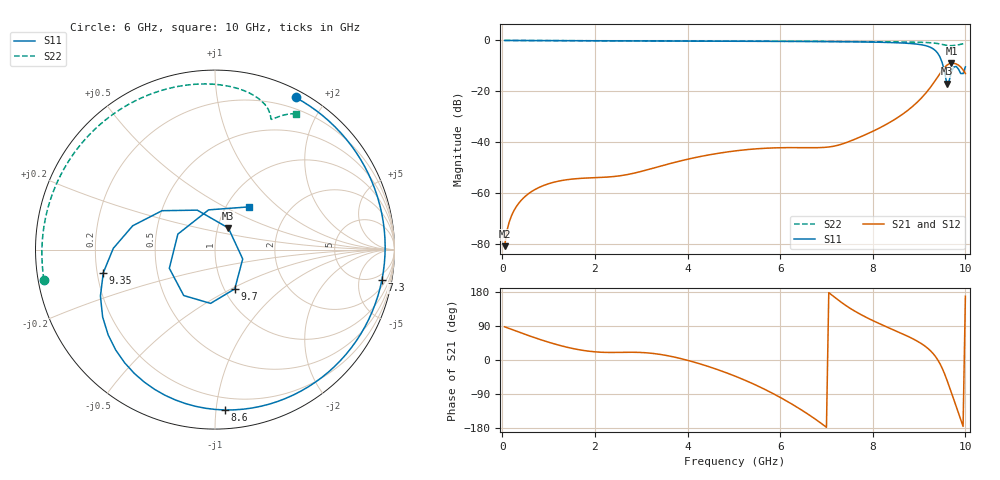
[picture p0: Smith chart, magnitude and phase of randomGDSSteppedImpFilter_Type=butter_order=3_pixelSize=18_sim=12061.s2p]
! freq	dB(S11)	phase(S11)	dB(S12)	phase(S12)
!  dB(S21)	phase(S21)	dB(S22)	phase(S22)
!S-par simulation data
#  GHz  S  DB  R 50
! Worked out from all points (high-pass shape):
!   200 points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, 50 MHz to 10 GHz, reference 50 ohm
!   highest |S21| = -8.92 dB at 9.7 GHz (marker M1); lowest = -80.7 dB at 50 MHz (marker M2)
!   |S21| within 3 dB of the highest: 9.492 GHz to 9.963 GHz (471.2 MHz wide, 4.84 % of centre)
!   lowest |S11| = -17.0 dB at 9.6 GHz (marker M3), VSWR 1.33, Z = 56.2 + j13.8 ohm
!   |S11| at or under -10 dB: 9.518 GHz to end of sweep
!   |S22| runs from -2.0 to 0.0 dB; largest |S21 - S12| = 0
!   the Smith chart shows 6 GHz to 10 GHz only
!   S11 on the Smith chart (normalised r, x): 6 GHz: 0.08, +1.66; 7.3 GHz: 3, -10; 8.6 GHz: 0.12, -1.06; 9.35 GHz: 0.22, -0.10; 9.7 GHz: 1.12, -0.52; 10 GHz: 1.27, +0.67
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0.05  -0.00 -3.1  -80.68 87.6  -80.68 87.6  -0.00 -1.6
0.2  -0.02 -12.2  -68.69 80.8  -68.69 80.8  -0.01 -6.3
0.5  -0.04 -30.1  -61.07 67.3  -61.07 67.3  -0.02 -15.7
1.15  -0.08 -67.3  -55.44 41.6  -55.44 41.6  -0.04 -35.7
1.75  -0.11 -98.9  -54.02 25.2  -54.02 25.2  -0.07 -53.7
2.6  -0.15 -139.3  -52.92 20.2  -52.92 20.2  -0.10 -78.3
3.4  -0.18 -174.5  -49.38 14.9  -49.38 14.9  -0.13 -100.5
4.2  -0.22 150.3  -45.80 -7.7  -45.80 -7.7  -0.17 -121.9
5.05  -0.28 110.8  -43.27 -43.7  -43.27 -43.7  -0.21 -144.4
6  -0.36 62.1  -42.07 -98.6  -42.07 -98.6  -0.28 -170.0
6.7  -0.42 23.5  -42.07 -151.0  -42.07 -151.0  -0.35 170.1
7.3  -0.49 -10.3  -40.83 154.1  -40.83 154.1  -0.41 151.9
8.35  -0.79 -70.6  -32.32 84.7  -32.32 84.7  -0.54 116.3
8.6  -0.96 -86.5  -29.48 71.3  -29.48 71.3  -0.59 106.9
9.05  -1.69 -123.1  -22.59 43.1  -22.59 43.1  -0.73 88.7
9.35  -3.93 -168.3  -15.71 9.8  -15.71 9.8  -1.08 75.3
9.5  -8.72 143.7  -11.71 -22.0  -11.71 -22.0  -1.55 69.2
9.6  -16.99 58.3  -9.70 -52.4  -9.70 -52.4  -1.94 67.2
9.7  -12.21 -63.3  -8.92 -86.9  -8.92 -86.9  -2.04 66.5
9.75  -10.44 -94.7  -8.95 -104.3  -8.95 -104.3  -1.97 66.1
9.85  -11.21 -157.7  -9.67 -139.5  -9.67 -139.5  -1.71 64.4
10  -10.33 51.5  -12.99 168.1  -12.99 168.1  -1.10 59.3
